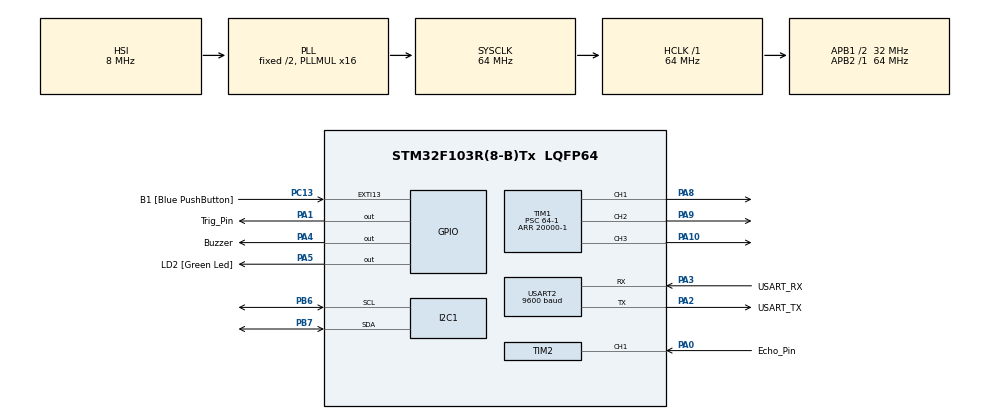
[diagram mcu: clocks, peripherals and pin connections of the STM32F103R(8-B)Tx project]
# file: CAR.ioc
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Mcu.Family=STM32F1
Mcu.Name=STM32F103R(8-B)Tx
Mcu.Package=LQFP64
NVIC.EXTI15_10_IRQn=true\:0\:0\:false\:false\:true\:true\:true\:true
NVIC.PriorityGroup=NVIC_PRIORITYGROUP_4
NVIC.TIM2_IRQn=true\:0\:0\:false\:false\:true\:true\:true\:true
PA0-WKUP.GPIO_Label=Echo_Pin
PA0-WKUP.Signal=S_TIM2_CH1_ETR
PA1.GPIO_Label=Trig_Pin
PA1.Signal=GPIO_Output
PA10.Signal=S_TIM1_CH3
PA13.GPIO_Label=TMS
PA13.Mode=Serial_Wire
PA13.Signal=SYS_JTMS-SWDIO
PA14.GPIO_Label=TCK
PA14.Mode=Serial_Wire
PA14.Signal=SYS_JTCK-SWCLK
PA2.GPIO_Label=USART_TX
PA2.GPIO_Mode=GPIO_MODE_AF_PP
PA2.GPIO_PuPd=GPIO_NOPULL
PA2.GPIO_Speed=GPIO_SPEED_FREQ_LOW
PA2.Mode=Asynchronous
PA2.Signal=USART2_TX
PA3.GPIO_Label=USART_RX
PA3.GPIO_Mode=GPIO_MODE_AF_PP
PA3.GPIO_PuPd=GPIO_NOPULL
PA3.GPIO_Speed=GPIO_SPEED_FREQ_LOW
PA3.Mode=Asynchronous
PA3.Signal=USART2_RX
PA4.GPIO_Label=Buzzer
PA4.Signal=GPIO_Output
PA5.GPIO_Label=LD2 [Green Led]
PA5.GPIO_ModeDefaultOutputPP=GPIO_MODE_OUTPUT_PP
PA5.GPIO_PuPd=GPIO_NOPULL
PA5.GPIO_Speed=GPIO_SPEED_FREQ_LOW
PA5.Signal=GPIO_Output
PA8.Signal=S_TIM1_CH1
PA9.Signal=S_TIM1_CH2
PB3.GPIO_Label=SWO
PB3.Signal=SYS_JTDO-TRACESWO
PB6.Mode=I2C
PB6.Signal=I2C1_SCL
PB7.Mode=I2C
PB7.Signal=I2C1_SDA
PC13-TAMPER-RTC.GPIO_Label=B1 [Blue PushButton]
PC13-TAMPER-RTC.GPIO_PuPd=GPIO_NOPULL
PC13-TAMPER-RTC.Signal=GPXTI13
PC14-OSC32_IN.Mode=LSE-External-Oscillator
PC14-OSC32_IN.Signal=RCC_OSC32_IN
PC15-OSC32_OUT.Mode=LSE-External-Oscillator
PC15-OSC32_OUT.Signal=RCC_OSC32_OUT
PD0-OSC_IN.Mode=HSE-External-Clock-Source
PD0-OSC_IN.Signal=RCC_OSC_IN
PD1-OSC_OUT.Mode=HSE-External-Clock-Source
PD1-OSC_OUT.Signal=RCC_OSC_OUT
ProjectManager.HeapSize=0x200
ProjectManager.StackSize=0x400
ProjectManager.TargetToolchain=STM32CubeIDE
RCC.AHBFreq_Value=64000000
RCC.APB1CLKDivider=RCC_HCLK_DIV2
RCC.APB1Freq_Value=32000000
RCC.APB1TimFreq_Value=64000000
RCC.APB2Freq_Value=64000000
RCC.APB2TimFreq_Value=64000000
RCC.HCLKFreq_Value=64000000
RCC.PLLMUL=RCC_PLL_MUL16
RCC.RTCClockSelection=RCC_RTCCLKSOURCE_LSE
RCC.SYSCLKFreq_VALUE=64000000
RCC.SYSCLKSource=RCC_SYSCLKSOURCE_PLLCLK
RCC.USBFreq_Value=64000000
SH.S_TIM1_CH1.0=TIM1_CH1,PWM Generation1 CH1
SH.S_TIM1_CH2.0=TIM1_CH2,PWM Generation2 CH2
SH.S_TIM1_CH3.0=TIM1_CH3,PWM Generation3 CH3
SH.S_TIM2_CH1_ETR.0=TIM2_CH1,Input_Capture1_from_TI1
TIM1.Channel-PWM\ Generation1\ CH1=TIM_CHANNEL_1
TIM1.Channel-PWM\ Generation2\ CH2=TIM_CHANNEL_2
TIM1.Channel-PWM\ Generation3\ CH3=TIM_CHANNEL_3
TIM1.OCMode_PWM-PWM\ Generation1\ CH1=TIM_OCMODE_PWM1
TIM1.Period=20000-1
TIM1.Prescaler=64-1
TIM1.Pulse-PWM\ Generation1\ CH1=1500
TIM1.Pulse-PWM\ Generation2\ CH2=1500
TIM1.Pulse-PWM\ Generation3\ CH3=2000
TIM2.Channel-Input_Capture1_from_TI1=TIM_CHANNEL_1
TIM2.Prescaler=64-1
TIM3.Prescaler=64-1
USART2.BaudRate=9600
USART2.VirtualMode=VM_ASYNC
VP_TIM1_VS_ClockSourceINT.Mode=Internal
VP_TIM2_VS_ClockSourceINT.Mode=Internal
VP_TIM3_VS_ClockSourceINT.Mode=Internal
board=NUCLEO-F103RB

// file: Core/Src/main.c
/* USER CODE BEGIN Header */
/**
  ******************************************************************************
  * @file           : main.c
  * @brief          : Main program body
  ******************************************************************************
  * @attention
  *
  * Copyright (c) 2022 STMicroelectronics.
  * All rights reserved.
  *
  * This software is licensed under terms that can be found in the LICENSE file
  * in the root directory of this software component.
  * If no LICENSE file comes with this software, it is provided AS-IS.
  *
  ******************************************************************************
  */
/* USER CODE END Header */
#include "main.h"

/* USER CODE BEGIN Includes */
#include "I2c-lcd.h"
#include<stdio.h>
#include<stdlib.h>
#include "Kalman.h"
#include<math.h>
/* USER CODE END Includes */

/* USER CODE BEGIN PD */
#define GYRO_SCALE 2
#define LEFT_START_PWM 1600
#define RIGHT_START_PWM 1400
#define LEFT_MAX_PWM 1700
#define RIGHT_MAX_PWM 1300
#define LEFT_STOP_PWM 1500
#define RIGHT_STOP_PWM 1500
#define GAUGE_START_PWM 2500
#define GAUGE_MAX_PWM 500

/* USER CODE END PD */

 I2C_HandleTypeDef hi2c1;

TIM_HandleTypeDef htim1;
TIM_HandleTypeDef htim2;
TIM_HandleTypeDef htim3;

UART_HandleTypeDef huart2;

void SystemClock_Config(void);
static void MX_GPIO_Init(void);
static void MX_USART2_UART_Init(void);
static void MX_TIM1_Init(void);
static void MX_I2C1_Init(void);
static void MX_TIM2_Init(void);
static void MX_TIM3_Init(void);
/* USER CODE BEGIN PFP */
#ifdef __GNUC__
/* With GCC, small printf (option LD Linker->Libraries->Small printf
   set to 'Yes') calls __io_putchar() */
#define PUTCHAR_PROTOTYPE int __io_putchar(int ch)
#else
#define PUTCHAR_PROTOTYPE int fputc(int ch, FILE *f)
#endif /* __GNUC__ */

PUTCHAR_PROTOTYPE
{
  /* Place your implementation of fputc here */
  /* e.g. write a character to the USART1 and Loop until the end of transmission */
  HAL_UART_Transmit(&huart2, (uint8_t *)&ch, 1, 0xFFFF);

  return ch;
}
/* USER CODE END PFP */

/* USER CODE BEGIN 0 */

#define MPU6050_ADDR 0xD0

#define SMPLRT_DIV_REG 0x19
#define GYRO_CONFIG_REG 0x1B
#define ACCEL_CONFIG_REG 0x1C
#define ACCEL_XOUT_H_REG 0x3B
#define TEMP_OUT_H_REG 0x41
#define GYRO_XOUT_H_REG 0x43
#define PWR_MGMT_1_REG 0x6B
#define WHO_AM_I_REG 0x75

int16_t Accel_X_RAW = 0;
int16_t Accel_Y_RAW = 0;
int16_t Accel_Z_RAW = 0;

int16_t Gyro_X_RAW = 0;
int16_t Gyro_Y_RAW = 0;
int16_t Gyro_Z_RAW = 0;

float Ax, Ay, Az, Gx, Gy, Gz;

/*Ultrasonic variable*/
uint32_t IC1, IC2;
float freq;
uint8_t captureFlag = 0;

uint8_t start_flag = 0;
uint8_t move_flag = 0;
uint8_t coll_flag = 0;
uint8_t rotate_flag = 0;
void MPU6050_Init(void)  //
{

	uint8_t check, Data;

	HAL_I2C_Mem_Read(&hi2c1, MPU6050_ADDR, WHO_AM_I_REG, 1, &check, 1, 1000);

	if(check == 104)
	{
		Data = 0;
		HAL_I2C_Mem_Write(&hi2c1, MPU6050_ADDR, PWR_MGMT_1_REG, 1, &Data, 1, 1000);

		Data = 0x07;
		HAL_I2C_Mem_Write(&hi2c1, MPU6050_ADDR, SMPLRT_DIV_REG, 1, &Data, 1, 1000);

		Data = 0x00;
		HAL_I2C_Mem_Write(&hi2c1, MPU6050_ADDR, ACCEL_CONFIG_REG, 1, &Data, 1, 1000);

		Data = 0x07;
		HAL_I2C_Mem_Write(&hi2c1, MPU6050_ADDR, GYRO_CONFIG_REG, 1, &Data, 1, 1000);
	}

}

void MPU6050_Read_Accel (void)
{
	uint8_t Rec_Data[6];

	HAL_I2C_Mem_Read(&hi2c1, MPU6050_ADDR, ACCEL_XOUT_H_REG, 1, Rec_Data, 6, 1000);

	Accel_X_RAW = (int16_t)(Rec_Data[0] << 8 | Rec_Data [1]);
	Accel_Y_RAW = (int16_t)(Rec_Data[2] << 8 | Rec_Data [3]);
	Accel_Z_RAW = (int16_t)(Rec_Data[4] << 8 | Rec_Data [5]);

	Ax = Accel_X_RAW/16384.0;
	Ay = Accel_Y_RAW/16384.0;
	Az = Accel_Z_RAW/16384.0;

}

void MPU6050_Read_Gyro (void)
{
	//printf(" test2\n\r");
	uint8_t Rec_Data[6];

	HAL_I2C_Mem_Read(&hi2c1, MPU6050_ADDR, GYRO_XOUT_H_REG, 1, Rec_Data, 6, 1000);

	Gyro_X_RAW = (int16_t)(Rec_Data[0] << 8 | Rec_Data [1]);
	Gyro_Y_RAW = (int16_t)(Rec_Data[2] << 8 | Rec_Data [3]);
	Gyro_Z_RAW = (int16_t)(Rec_Data[4] << 8 | Rec_Data [5]);

	Gx = Gyro_X_RAW/131.0;
	Gy = Gyro_Y_RAW/131.0;
	Gz = Gyro_Z_RAW/131.0;
}

void delay_us(uint16_t delay){
	TIM3->CNT = 0;
	while(TIM3->CNT < delay);
}

void ultraSonic(){
	HAL_GPIO_WritePin(GPIOA, GPIO_PIN_1, GPIO_PIN_SET);
	delay_us(10);
	HAL_GPIO_WritePin(GPIOA, GPIO_PIN_1, GPIO_PIN_RESET);
}

int convertValue(){
	int angle = (int)(Ay*100) / GYRO_SCALE;///GYRO_SCALE;
	printf("angle : %d\n\r", angle);
	if(angle >= -5 && angle <= 5) return 0;
	else if(angle >5 && angle <= 10) return 1;
	else if(angle > 10 && angle <= 15) return 2;
	else if(angle > 15 && angle <= 20) return 3;
	else if(angle > 20 && angle <= 25) return 4;
	else if(angle > 25 && angle <= 30) return 5;
	else if(angle > 35 && angle <= 40) return 6;
	else if(angle > 40 && angle <= 45) return 7;
	else if(angle > 45 && angle <= 50) return 8;
	else if(angle > 50 && angle <= 55) return 9;

	else if(angle >= -10 && angle < -5) return -1;
	else if(angle >= -15 && angle < -10) return -2;
	else if(angle >= -20 && angle < -15) return -3;
	else if(angle >= -25 && angle < -20) return -4;
	else if(angle >= -30 && angle < -25) return -5;
	else if(angle >= -35 && angle < -30) return -6;
	else if(angle >= -40 && angle < -35) return -7;
	else if(angle >= -45 && angle < -40) return -8;
	else if(angle >= -50 && angle < -45) return -9;

	else return 0;

}

void stop(){
	TIM1->CCR1 = 1500; // left wheel
	TIM1->CCR2 = 1500; // right wheel
	HAL_Delay(1000);
}

void backward(){
	TIM1->CCR1 = 1450; // left wheel
	TIM1->CCR2 = 1550; // right wheel
}

void rotate(){
	TIM1->CCR1 = 1550; // left wheel
	TIM1->CCR2 = 1550; // right wheel
}

void forward(){

	int ay_value = convertValue();

	int left_pwm = LEFT_START_PWM + ay_value*20;
	int right_pwm = RIGHT_START_PWM - ay_value*20;
	int gauge_pwm = GAUGE_START_PWM - (left_pwm - LEFT_STOP_PWM)*10;// GAUGE_START_PWM + ay_value*20*5; // wheel : gage = 1 : 5

	// uphill
	if(ay_value >= 0 && ay_value < 10){

		if(left_pwm <= LEFT_MAX_PWM && right_pwm >= RIGHT_MAX_PWM && gauge_pwm >= GAUGE_MAX_PWM){
			TIM1->CCR1 = left_pwm;
			TIM1->CCR2 = right_pwm;
			TIM1->CCR3 = gauge_pwm;
		}
		else{
			TIM1->CCR1 = LEFT_MAX_PWM;
			TIM1->CCR2 = RIGHT_MAX_PWM;
			TIM1->CCR3 = GAUGE_MAX_PWM;
		}
	}
	// downhill
	else if(ay_value < 0 && ay_value > -10){
		if(left_pwm > LEFT_STOP_PWM && right_pwm < RIGHT_STOP_PWM){
			TIM1->CCR1 = left_pwm;
			TIM1->CCR2 = right_pwm;
			TIM1->CCR3 = gauge_pwm;

		}

	}
}

void moving() {
	int dis = (int) freq;
	if(dis == 0) return;

	if (coll_flag == 0) {
		if(move_flag == 1){
			forward();
		}
		if (move_flag == 1 && freq < 7) {
			stop();
			move_flag = 2;
			coll_flag = 1;
		}
	}
	else if (coll_flag == 1) {
		if(move_flag == 2){
			backward();
			//move_flag = 2;
			if(freq > 20){
				move_flag = 3;
			}

		}
		else if(move_flag == 3){
			rotate();
			//HAL_Delay(2000);
			if(dis > 100){
				coll_flag = 0;
				move_flag = 1;
			}
		}
	}

}

/* USER CODE END 0 */

int main(void)
{

  /* MCU Configuration--------------------------------------------------------*/

  /* Reset of all peripherals, Initializes the Flash interface and the Systick. */
  HAL_Init();

  /* Configure the system clock */
  SystemClock_Config();

  /* Initialize all configured peripherals */
  MX_GPIO_Init();
  MX_USART2_UART_Init();
  MX_TIM1_Init();
  MX_I2C1_Init();
  MX_TIM2_Init();
  MX_TIM3_Init();
  /* USER CODE BEGIN 2 */

  HAL_Delay(200);
  lcd_init();
  MPU6050_Init();

  lcd_send_string("initialized");

  HAL_Delay(1000);

  lcd_clear();

  char buf[4];

  /*Timer1 Start*/
  HAL_TIM_PWM_Start(&htim1, TIM_CHANNEL_1);
  HAL_TIM_PWM_Start(&htim1, TIM_CHANNEL_2);
  HAL_TIM_PWM_Start(&htim1, TIM_CHANNEL_3);
  HAL_Delay(100);

  /*Timer2 Start*/
  HAL_TIM_IC_Start_IT(&htim2, TIM_CHANNEL_1);
  HAL_Delay(100);

  /*Timer3 start*/
  HAL_TIM_Base_Start(&htim3);

  /* USER CODE END 2 */

  /* Infinite loop */
  /* USER CODE BEGIN WHILE */
  while (1)
  {
	  MPU6050_Read_Accel();
	  ultraSonic();
	  moving();
    /* USER CODE END WHILE */

  }
}

void SystemClock_Config(void)
{
  RCC_OscInitTypeDef RCC_OscInitStruct = {0};
  RCC_ClkInitTypeDef RCC_ClkInitStruct = {0};

  /** Initializes the RCC Oscillators according to the specified parameters
  * in the RCC_OscInitTypeDef structure.
  */
  RCC_OscInitStruct.OscillatorType = RCC_OSCILLATORTYPE_HSI;
  RCC_OscInitStruct.HSIState = RCC_HSI_ON;
  RCC_OscInitStruct.HSICalibrationValue = RCC_HSICALIBRATION_DEFAULT;
  RCC_OscInitStruct.PLL.PLLState = RCC_PLL_ON;
  RCC_OscInitStruct.PLL.PLLSource = RCC_PLLSOURCE_HSI_DIV2;
  RCC_OscInitStruct.PLL.PLLMUL = RCC_PLL_MUL16;
  if (HAL_RCC_OscConfig(&RCC_OscInitStruct) != HAL_OK)
  {
    Error_Handler();
  }

  /** Initializes the CPU, AHB and APB buses clocks
  */
  RCC_ClkInitStruct.ClockType = RCC_CLOCKTYPE_HCLK|RCC_CLOCKTYPE_SYSCLK
                              |RCC_CLOCKTYPE_PCLK1|RCC_CLOCKTYPE_PCLK2;
  RCC_ClkInitStruct.SYSCLKSource = RCC_SYSCLKSOURCE_PLLCLK;
  RCC_ClkInitStruct.AHBCLKDivider = RCC_SYSCLK_DIV1;
  RCC_ClkInitStruct.APB1CLKDivider = RCC_HCLK_DIV2;
  RCC_ClkInitStruct.APB2CLKDivider = RCC_HCLK_DIV1;

  if (HAL_RCC_ClockConfig(&RCC_ClkInitStruct, FLASH_LATENCY_2) != HAL_OK)
  {
    Error_Handler();
  }
}

static void MX_I2C1_Init(void)
{

  hi2c1.Instance = I2C1;
  hi2c1.Init.ClockSpeed = 100000;
  hi2c1.Init.DutyCycle = I2C_DUTYCYCLE_2;
  hi2c1.Init.OwnAddress1 = 0;
  hi2c1.Init.AddressingMode = I2C_ADDRESSINGMODE_7BIT;
  hi2c1.Init.DualAddressMode = I2C_DUALADDRESS_DISABLE;
  hi2c1.Init.OwnAddress2 = 0;
  hi2c1.Init.GeneralCallMode = I2C_GENERALCALL_DISABLE;
  hi2c1.Init.NoStretchMode = I2C_NOSTRETCH_DISABLE;
  if (HAL_I2C_Init(&hi2c1) != HAL_OK)
  {
    Error_Handler();
  }

}

static void MX_TIM1_Init(void)
{

  TIM_ClockConfigTypeDef sClockSourceConfig = {0};
  TIM_MasterConfigTypeDef sMasterConfig = {0};
  TIM_OC_InitTypeDef sConfigOC = {0};
  TIM_BreakDeadTimeConfigTypeDef sBreakDeadTimeConfig = {0};

  htim1.Instance = TIM1;
  htim1.Init.Prescaler = 64-1;
  htim1.Init.CounterMode = TIM_COUNTERMODE_UP;
  htim1.Init.Period = 20000-1;
  htim1.Init.ClockDivision = TIM_CLOCKDIVISION_DIV1;
  htim1.Init.RepetitionCounter = 0;
  htim1.Init.AutoReloadPreload = TIM_AUTORELOAD_PRELOAD_DISABLE;
  if (HAL_TIM_Base_Init(&htim1) != HAL_OK)
  {
    Error_Handler();
  }
  sClockSourceConfig.ClockSource = TIM_CLOCKSOURCE_INTERNAL;
  if (HAL_TIM_ConfigClockSource(&htim1, &sClockSourceConfig) != HAL_OK)
  {
    Error_Handler();
  }
  if (HAL_TIM_PWM_Init(&htim1) != HAL_OK)
  {
    Error_Handler();
  }
  sMasterConfig.MasterOutputTrigger = TIM_TRGO_RESET;
  sMasterConfig.MasterSlaveMode = TIM_MASTERSLAVEMODE_DISABLE;
  if (HAL_TIMEx_MasterConfigSynchronization(&htim1, &sMasterConfig) != HAL_OK)
  {
    Error_Handler();
  }
  sConfigOC.OCMode = TIM_OCMODE_PWM1;
  sConfigOC.Pulse = 1500;
  sConfigOC.OCPolarity = TIM_OCPOLARITY_HIGH;
  sConfigOC.OCNPolarity = TIM_OCNPOLARITY_HIGH;
  sConfigOC.OCFastMode = TIM_OCFAST_DISABLE;
  sConfigOC.OCIdleState = TIM_OCIDLESTATE_RESET;
  sConfigOC.OCNIdleState = TIM_OCNIDLESTATE_RESET;
  if (HAL_TIM_PWM_ConfigChannel(&htim1, &sConfigOC, TIM_CHANNEL_1) != HAL_OK)
  {
    Error_Handler();
  }
  if (HAL_TIM_PWM_ConfigChannel(&htim1, &sConfigOC, TIM_CHANNEL_2) != HAL_OK)
  {
    Error_Handler();
  }
  sConfigOC.Pulse = 2000;
  if (HAL_TIM_PWM_ConfigChannel(&htim1, &sConfigOC, TIM_CHANNEL_3) != HAL_OK)
  {
    Error_Handler();
  }
  sBreakDeadTimeConfig.OffStateRunMode = TIM_OSSR_DISABLE;
  sBreakDeadTimeConfig.OffStateIDLEMode = TIM_OSSI_DISABLE;
  sBreakDeadTimeConfig.LockLevel = TIM_LOCKLEVEL_OFF;
  sBreakDeadTimeConfig.DeadTime = 0;
  sBreakDeadTimeConfig.BreakState = TIM_BREAK_DISABLE;
  sBreakDeadTimeConfig.BreakPolarity = TIM_BREAKPOLARITY_HIGH;
  sBreakDeadTimeConfig.AutomaticOutput = TIM_AUTOMATICOUTPUT_DISABLE;
  if (HAL_TIMEx_ConfigBreakDeadTime(&htim1, &sBreakDeadTimeConfig) != HAL_OK)
  {
    Error_Handler();
  }
  HAL_TIM_MspPostInit(&htim1);

}

static void MX_TIM2_Init(void)
{

  TIM_ClockConfigTypeDef sClockSourceConfig = {0};
  TIM_MasterConfigTypeDef sMasterConfig = {0};
  TIM_IC_InitTypeDef sConfigIC = {0};

  htim2.Instance = TIM2;
  htim2.Init.Prescaler = 64-1;
  htim2.Init.CounterMode = TIM_COUNTERMODE_UP;
  htim2.Init.Period = 65535;
  htim2.Init.ClockDivision = TIM_CLOCKDIVISION_DIV1;
  htim2.Init.AutoReloadPreload = TIM_AUTORELOAD_PRELOAD_DISABLE;
  if (HAL_TIM_Base_Init(&htim2) != HAL_OK)
  {
    Error_Handler();
  }
  sClockSourceConfig.ClockSource = TIM_CLOCKSOURCE_INTERNAL;
  if (HAL_TIM_ConfigClockSource(&htim2, &sClockSourceConfig) != HAL_OK)
  {
    Error_Handler();
  }
  if (HAL_TIM_IC_Init(&htim2) != HAL_OK)
  {
    Error_Handler();
  }
  sMasterConfig.MasterOutputTrigger = TIM_TRGO_RESET;
  sMasterConfig.MasterSlaveMode = TIM_MASTERSLAVEMODE_DISABLE;
  if (HAL_TIMEx_MasterConfigSynchronization(&htim2, &sMasterConfig) != HAL_OK)
  {
    Error_Handler();
  }
  sConfigIC.ICPolarity = TIM_INPUTCHANNELPOLARITY_RISING;
  sConfigIC.ICSelection = TIM_ICSELECTION_DIRECTTI;
  sConfigIC.ICPrescaler = TIM_ICPSC_DIV1;
  sConfigIC.ICFilter = 0;
  if (HAL_TIM_IC_ConfigChannel(&htim2, &sConfigIC, TIM_CHANNEL_1) != HAL_OK)
  {
    Error_Handler();
  }

}

static void MX_TIM3_Init(void)
{

  TIM_ClockConfigTypeDef sClockSourceConfig = {0};
  TIM_MasterConfigTypeDef sMasterConfig = {0};

  htim3.Instance = TIM3;
  htim3.Init.Prescaler = 64-1;
  htim3.Init.CounterMode = TIM_COUNTERMODE_UP;
  htim3.Init.Period = 65535;
  htim3.Init.ClockDivision = TIM_CLOCKDIVISION_DIV1;
  htim3.Init.AutoReloadPreload = TIM_AUTORELOAD_PRELOAD_DISABLE;
  if (HAL_TIM_Base_Init(&htim3) != HAL_OK)
  {
    Error_Handler();
  }
  sClockSourceConfig.ClockSource = TIM_CLOCKSOURCE_INTERNAL;
  if (HAL_TIM_ConfigClockSource(&htim3, &sClockSourceConfig) != HAL_OK)
  {
    Error_Handler();
  }
  sMasterConfig.MasterOutputTrigger = TIM_TRGO_RESET;
  sMasterConfig.MasterSlaveMode = TIM_MASTERSLAVEMODE_DISABLE;
  if (HAL_TIMEx_MasterConfigSynchronization(&htim3, &sMasterConfig) != HAL_OK)
  {
    Error_Handler();
  }

}

static void MX_USART2_UART_Init(void)
{

  huart2.Instance = USART2;
  huart2.Init.BaudRate = 9600;
  huart2.Init.WordLength = UART_WORDLENGTH_8B;
  huart2.Init.StopBits = UART_STOPBITS_1;
  huart2.Init.Parity = UART_PARITY_NONE;
  huart2.Init.Mode = UART_MODE_TX_RX;
  huart2.Init.HwFlowCtl = UART_HWCONTROL_NONE;
  huart2.Init.OverSampling = UART_OVERSAMPLING_16;
  if (HAL_UART_Init(&huart2) != HAL_OK)
  {
    Error_Handler();
  }

}

static void MX_GPIO_Init(void)
{
  GPIO_InitTypeDef GPIO_InitStruct = {0};

  /* GPIO Ports Clock Enable */
  __HAL_RCC_GPIOC_CLK_ENABLE();
  __HAL_RCC_GPIOD_CLK_ENABLE();
  __HAL_RCC_GPIOA_CLK_ENABLE();
  __HAL_RCC_GPIOB_CLK_ENABLE();

  /*Configure GPIO pin Output Level */
  HAL_GPIO_WritePin(GPIOA, Trig_Pin_Pin|Buzzer_Pin|LD2_Pin, GPIO_PIN_RESET);

  /*Configure GPIO pin : B1_Pin */
  GPIO_InitStruct.Pin = B1_Pin;
  GPIO_InitStruct.Mode = GPIO_MODE_IT_RISING;
  GPIO_InitStruct.Pull = GPIO_NOPULL;
  HAL_GPIO_Init(B1_GPIO_Port, &GPIO_InitStruct);

  /*Configure GPIO pins : Trig_Pin_Pin Buzzer_Pin LD2_Pin */
  GPIO_InitStruct.Pin = Trig_Pin_Pin|Buzzer_Pin|LD2_Pin;
  GPIO_InitStruct.Mode = GPIO_MODE_OUTPUT_PP;
  GPIO_InitStruct.Pull = GPIO_NOPULL;
  GPIO_InitStruct.Speed = GPIO_SPEED_FREQ_LOW;
  HAL_GPIO_Init(GPIOA, &GPIO_InitStruct);

  /* EXTI interrupt init*/
  HAL_NVIC_SetPriority(EXTI15_10_IRQn, 0, 0);
  HAL_NVIC_EnableIRQ(EXTI15_10_IRQn);

}

/* USER CODE BEGIN 4 */

void HAL_GPIO_EXTI_Callback(uint16_t GPIO_Pin) {
	if (GPIO_Pin == GPIO_PIN_13) {
		TIM1->CCR1 = 1600; // left wheel
		TIM1->CCR2 = 1400; // right wheel
		start_flag = 1;
		move_flag = 1;
	}

}

void HAL_TIM_IC_CaptureCallback(TIM_HandleTypeDef *htim)
{
	//printf("test\n\r");
	//HAL_GPIO_TogglePin(GPIOC, GPIO_PIN_0);
	if(htim->Channel == HAL_TIM_ACTIVE_CHANNEL_1)
	{
		if(captureFlag == 0)
		{
			//printf("test1\n\r");
//			IC1 = HAL_TIM_ReadCapturedValue(&htim2, TIM_CHANNEL_1);
			IC1 = TIM2->CCR1;
			captureFlag = 1;
			__HAL_TIM_SET_CAPTUREPOLARITY(&htim2, TIM_CHANNEL_1, TIM_INPUTCHANNELPOLARITY_FALLING);
		}
		else if(captureFlag == 1)
		{
//			IC2 = HAL_TIM_ReadCapturedValue(&htim2, TIM_CHANNEL_1);
			IC2 = TIM2->CCR1;
			freq = (IC2 - IC1) * 340 / 10000 / 2;
//			freq = 1/((IC2 - IC1) * (float)psr/clk);
			__HAL_TIM_SET_COUNTER(&htim2, 0);
			if(freq > 0 && freq < 1000)
			{
				//printf("%f\n\r", freq);
				if(freq < 30 && start_flag == 1)
				{
					 HAL_GPIO_WritePin(GPIOA, GPIO_PIN_4, GPIO_PIN_SET);
					 delay_us(freq * 100000);
					 HAL_GPIO_WritePin(GPIOA, GPIO_PIN_4, GPIO_PIN_RESET);
					 delay_us(freq * 100000);
				}
			}
			captureFlag = 0;
			__HAL_TIM_SET_CAPTUREPOLARITY(&htim2, TIM_CHANNEL_1, TIM_INPUTCHANNELPOLARITY_RISING);
		}
	}

}

/* USER CODE END 4 */

void Error_Handler(void)
{
  __disable_irq();
  while (1)
  {
  }
}
